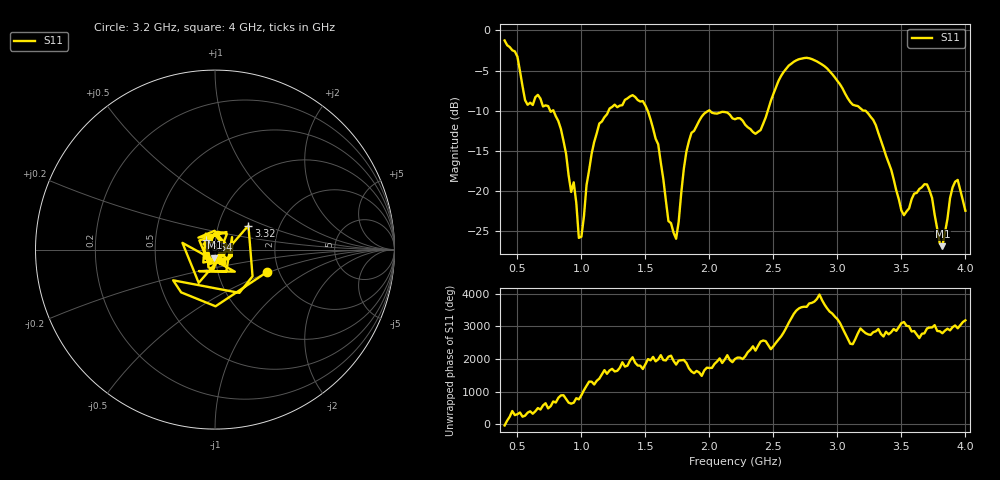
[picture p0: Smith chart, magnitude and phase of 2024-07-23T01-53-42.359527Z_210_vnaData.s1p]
!Created with skrf (http://scikit-rf.org).
# Hz S RI R 50.0
!freq ReS11 ImS11
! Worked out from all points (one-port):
!   181 points, 400 MHz to 4 GHz, reference 50 ohm
!   lowest |S11| = -26.9 dB at 3.82 GHz (marker M1), VSWR 1.09, Z = 49.5 - j4.47 ohm
!   |S11| at or under -10 dB: 1.517 GHz to 1.995 GHz (477.8 MHz wide, 27.2 % of centre); 2.003 GHz to 2.457 GHz (454 MHz wide, 20.4 % of centre); 3.21 GHz to end of sweep (the widest 3 of 5)
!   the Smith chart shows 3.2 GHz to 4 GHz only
!   S11 on the Smith chart (normalised r, x): 3.2 GHz: 1.74, -0.48; 3.32 GHz: 1.39, +0.39; 3.54 GHz: 0.90, +0.09; 4 GHz: 1.07, -0.14
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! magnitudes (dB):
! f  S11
! 400 MHz  -1.3
! 500 MHz  -3.3
! 580 MHz  -9.3
! 780 MHz  -10.0
! 860 MHz  -13.8
! 1 GHz  -25.7
! 1.04 GHz  -19.3
! 1.14 GHz  -11.6
! 1.3 GHz  -9.4
! 1.5 GHz  -9.4
! 1.6 GHz  -14.2
! 1.68 GHz  -23.8
! 1.74 GHz  -26.0
! 1.76 GHz  -23.9
! 1.86 GHz  -12.8
! 2.2 GHz  -11.1
! 2.4 GHz  -12.4
! 2.66 GHz  -3.9
! 2.9 GHz  -4.5
! 3.1 GHz  -8.9
! 3.2 GHz  -10.0
! 3.32 GHz  -12.8
! 3.54 GHz  -22.6
! 3.56 GHz  -22.2
! 3.7 GHz  -19.2
! 3.82 GHz  -26.9
! 3.92 GHz  -18.9
! 4 GHz  -22.5
